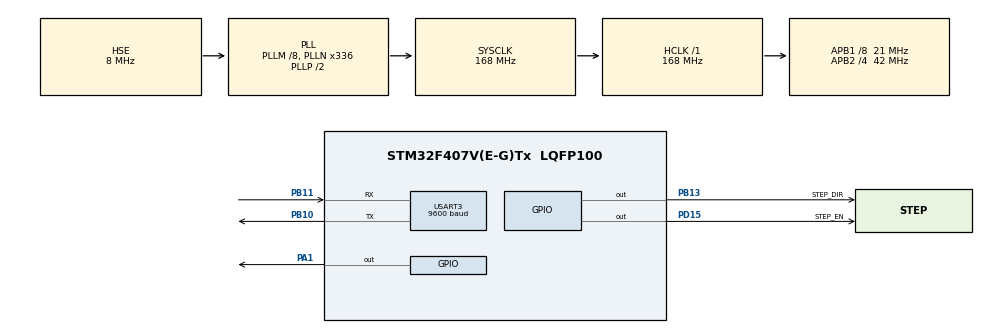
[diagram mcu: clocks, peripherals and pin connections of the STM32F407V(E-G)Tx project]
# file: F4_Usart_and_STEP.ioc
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Mcu.Family=STM32F4
Mcu.Name=STM32F407V(E-G)Tx
Mcu.Package=LQFP100
NVIC.PriorityGroup=NVIC_PRIORITYGROUP_0
NVIC.TIM2_IRQn=true\:0\:0\:false\:false\:true
NVIC.USART3_IRQn=true\:0\:0\:false\:false\:true
PA1.Signal=GPIO_Output
PA13.Mode=Serial_Wire
PA13.Signal=SYS_JTMS-SWDIO
PA14.Mode=Serial_Wire
PA14.Signal=SYS_JTCK-SWCLK
PB10.Mode=Asynchronous
PB10.Signal=USART3_TX
PB11.Mode=Asynchronous
PB11.Signal=USART3_RX
PB13.GPIO_Label=STEP_DIR
PB13.Signal=GPIO_Output
PD15.GPIO_Label=STEP_EN
PD15.Signal=GPIO_Output
PH0-OSC_IN.Mode=HSE-External-Oscillator
PH0-OSC_IN.Signal=RCC_OSC_IN
PH1-OSC_OUT.Mode=HSE-External-Oscillator
PH1-OSC_OUT.Signal=RCC_OSC_OUT
ProjectManager.HeapSize=0x200
ProjectManager.StackSize=0x400
ProjectManager.TargetToolchain=EWARM
RCC.48MHZClocksFreq_Value=48000000
RCC.AHBFreq_Value=168000000
RCC.APB1CLKDivider=RCC_HCLK_DIV8
RCC.APB1Freq_Value=21000000
RCC.APB1TimFreq_Value=42000000
RCC.APB2CLKDivider=RCC_HCLK_DIV4
RCC.APB2Freq_Value=42000000
RCC.APB2TimFreq_Value=84000000
RCC.CortexFreq_Value=168000000
RCC.HCLKFreq_Value=168000000
RCC.HSE_VALUE=8000000
RCC.HSI_VALUE=16000000
RCC.LSE_VALUE=32768
RCC.PLLM=8
RCC.PLLN=336
RCC.PLLQ=7
RCC.PLLSourceVirtual=RCC_PLLSOURCE_HSE
RCC.SYSCLKFreq_VALUE=168000000
RCC.SYSCLKSource=RCC_SYSCLKSOURCE_PLLCLK
RCC.VCOOutputFreq_Value=336000000
TIM2.Period=999
TIM2.Prescaler=41
USART3.BaudRate=9600
USART3.VirtualMode=VM_ASYNC
VP_TIM2_VS_ClockSourceINT.Mode=Internal
board=STM32F4DISCOVERY

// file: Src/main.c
/**
  ******************************************************************************
  * File Name          : main.c
  * Description        : Main program body
  ******************************************************************************
  ** This notice applies to any and all portions of this file
  * that are not between comment pairs USER CODE BEGIN and
  * USER CODE END. Other portions of this file, whether
  * inserted by the user or by software development tools
  * are owned by their respective copyright owners.
  *
  * COPYRIGHT(c) 2017 STMicroelectronics
  *
  * Redistribution and use in source and binary forms, with or without modification,
  * are permitted provided that the following conditions are met:
  *   1. Redistributions of source code must retain the above copyright notice,
  *      this list of conditions and the following disclaimer.
  *   2. Redistributions in binary form must reproduce the above copyright notice,
  *      this list of conditions and the following disclaimer in the documentation
  *      and/or other materials provided with the distribution.
  *   3. Neither the name of STMicroelectronics nor the names of its contributors
  *      may be used to endorse or promote products derived from this software
  *      without specific prior written permission.
  *
  * THIS SOFTWARE IS PROVIDED BY THE COPYRIGHT HOLDERS AND CONTRIBUTORS "AS IS"
  * AND ANY EXPRESS OR IMPLIED WARRANTIES, INCLUDING, BUT NOT LIMITED TO, THE
  * IMPLIED WARRANTIES OF MERCHANTABILITY AND FITNESS FOR A PARTICULAR PURPOSE ARE
  * DISCLAIMED. IN NO EVENT SHALL THE COPYRIGHT HOLDER OR CONTRIBUTORS BE LIABLE
  * FOR ANY DIRECT, INDIRECT, INCIDENTAL, SPECIAL, EXEMPLARY, OR CONSEQUENTIAL
  * DAMAGES (INCLUDING, BUT NOT LIMITED TO, PROCUREMENT OF SUBSTITUTE GOODS OR
  * SERVICES; LOSS OF USE, DATA, OR PROFITS; OR BUSINESS INTERRUPTION) HOWEVER
  * CAUSED AND ON ANY THEORY OF LIABILITY, WHETHER IN CONTRACT, STRICT LIABILITY,
  * OR TORT (INCLUDING NEGLIGENCE OR OTHERWISE) ARISING IN ANY WAY OUT OF THE USE
  * OF THIS SOFTWARE, EVEN IF ADVISED OF THE POSSIBILITY OF SUCH DAMAGE.
  *
  ******************************************************************************
  */
#include "main.h"
#include "stm32f4xx_hal.h"

TIM_HandleTypeDef htim2;

UART_HandleTypeDef huart3;

/* USER CODE BEGIN PV */
/* Private variables ---------------------------------------------------------*/
char Rx_indx, Rx_data[2], Rx_Buffer[100], Transfer_cplt;
uint32_t x = 0, y = 0;
int b = 0;

/* USER CODE END PV */

void SystemClock_Config(void);
static void MX_GPIO_Init(void);
static void MX_TIM2_Init(void);
static void MX_USART3_UART_Init(void);

/* USER CODE BEGIN PFP */
/* Private function prototypes -----------------------------------------------*/
void TX_Data(uint8_t message1[]) {

	//sprintf(buffer, "This is i:%i\r\n", 1);
	int len = strlen(message1);
	HAL_UART_Transmit(&huart3, message1, len, 1000);
}

void HAL_UART_RxCpltCallback(UART_HandleTypeDef *huart) {
	uint8_t i;
	//if (huart->Instance == USART3)	//current UART
	if (huart == &huart3)	//current UART
			{
		HAL_UART_Receive_IT(&huart3, Rx_data, 1);//activate UART receive interrupt every time
		switch (Rx_data[0]) {
		case '/':
			Rx_indx = 0;
			break;
		default:
			Rx_Buffer[Rx_indx++] = Rx_data[0];
			unsigned char *p = (void *) Rx_Buffer;
			x = atoi(p);
			break;
		}

	}

}

void HAL_TIM_PeriodElapsedCallback(TIM_HandleTypeDef *htim) {
	if (htim->Instance == TIM2) {
		//if (b % 2 == 0) {
			HAL_GPIO_TogglePin(GPIOA, GPIO_PIN_1);
		//	b=0;
		//}
	//	b++;
	}

}

/* USER CODE END PFP */

int main(void)
{

  /* MCU Configuration----------------------------------------------------------*/

  /* Reset of all peripherals, Initializes the Flash interface and the Systick. */
  HAL_Init();

  /* Configure the system clock */
  SystemClock_Config();

  /* Initialize all configured peripherals */
  MX_GPIO_Init();
  MX_TIM2_Init();
  MX_USART3_UART_Init();

  /* USER CODE BEGIN 2 */
	HAL_TIM_Base_Start_IT(&htim2);
	HAL_UART_Receive_IT(&huart3, Rx_data, 1);
	__HAL_UART_ENABLE_IT(&huart3, UART_IT_TC);
	__HAL_UART_ENABLE_IT(&huart3, UART_IT_RXNE);

	HAL_GPIO_WritePin(GPIOD, STEP_EN_Pin, GPIO_PIN_RESET);
	HAL_GPIO_WritePin(GPIOB, STEP_DIR_Pin, GPIO_PIN_RESET);
	// printf("aasd");
  /* USER CODE END 2 */

  /* Infinite loop */
	while (1) {

  /* USER CODE BEGIN 3 */

		//HAL_UART_Transmit_IT(&huart3,)

		HAL_GPIO_WritePin(GPIOB, STEP_DIR_Pin, x);

	}
  /* USER CODE END 3 */

}

/** System Clock Configuration
*/
void SystemClock_Config(void)
{

  RCC_OscInitTypeDef RCC_OscInitStruct;
  RCC_ClkInitTypeDef RCC_ClkInitStruct;

    /**Configure the main internal regulator output voltage
    */
  __HAL_RCC_PWR_CLK_ENABLE();

  __HAL_PWR_VOLTAGESCALING_CONFIG(PWR_REGULATOR_VOLTAGE_SCALE1);

    /**Initializes the CPU, AHB and APB busses clocks
    */
  RCC_OscInitStruct.OscillatorType = RCC_OSCILLATORTYPE_HSE;
  RCC_OscInitStruct.HSEState = RCC_HSE_ON;
  RCC_OscInitStruct.PLL.PLLState = RCC_PLL_ON;
  RCC_OscInitStruct.PLL.PLLSource = RCC_PLLSOURCE_HSE;
  RCC_OscInitStruct.PLL.PLLM = 8;
  RCC_OscInitStruct.PLL.PLLN = 336;
  RCC_OscInitStruct.PLL.PLLP = RCC_PLLP_DIV2;
  RCC_OscInitStruct.PLL.PLLQ = 7;
  if (HAL_RCC_OscConfig(&RCC_OscInitStruct) != HAL_OK)
  {
    _Error_Handler(__FILE__, __LINE__);
  }

    /**Initializes the CPU, AHB and APB busses clocks
    */
  RCC_ClkInitStruct.ClockType = RCC_CLOCKTYPE_HCLK|RCC_CLOCKTYPE_SYSCLK
                              |RCC_CLOCKTYPE_PCLK1|RCC_CLOCKTYPE_PCLK2;
  RCC_ClkInitStruct.SYSCLKSource = RCC_SYSCLKSOURCE_PLLCLK;
  RCC_ClkInitStruct.AHBCLKDivider = RCC_SYSCLK_DIV1;
  RCC_ClkInitStruct.APB1CLKDivider = RCC_HCLK_DIV8;
  RCC_ClkInitStruct.APB2CLKDivider = RCC_HCLK_DIV4;

  if (HAL_RCC_ClockConfig(&RCC_ClkInitStruct, FLASH_LATENCY_5) != HAL_OK)
  {
    _Error_Handler(__FILE__, __LINE__);
  }

    /**Configure the Systick interrupt time
    */
  HAL_SYSTICK_Config(HAL_RCC_GetHCLKFreq()/1000);

    /**Configure the Systick
    */
  HAL_SYSTICK_CLKSourceConfig(SYSTICK_CLKSOURCE_HCLK);

  /* SysTick_IRQn interrupt configuration */
  HAL_NVIC_SetPriority(SysTick_IRQn, 0, 0);
}

/* TIM2 init function */
static void MX_TIM2_Init(void)
{

  TIM_ClockConfigTypeDef sClockSourceConfig;
  TIM_MasterConfigTypeDef sMasterConfig;

  htim2.Instance = TIM2;
  htim2.Init.Prescaler = 41;
  htim2.Init.CounterMode = TIM_COUNTERMODE_UP;
  htim2.Init.Period = 999;
  htim2.Init.ClockDivision = TIM_CLOCKDIVISION_DIV1;
  if (HAL_TIM_Base_Init(&htim2) != HAL_OK)
  {
    _Error_Handler(__FILE__, __LINE__);
  }

  sClockSourceConfig.ClockSource = TIM_CLOCKSOURCE_INTERNAL;
  if (HAL_TIM_ConfigClockSource(&htim2, &sClockSourceConfig) != HAL_OK)
  {
    _Error_Handler(__FILE__, __LINE__);
  }

  sMasterConfig.MasterOutputTrigger = TIM_TRGO_RESET;
  sMasterConfig.MasterSlaveMode = TIM_MASTERSLAVEMODE_DISABLE;
  if (HAL_TIMEx_MasterConfigSynchronization(&htim2, &sMasterConfig) != HAL_OK)
  {
    _Error_Handler(__FILE__, __LINE__);
  }

}

/* USART3 init function */
static void MX_USART3_UART_Init(void)
{

  huart3.Instance = USART3;
  huart3.Init.BaudRate = 9600;
  huart3.Init.WordLength = UART_WORDLENGTH_8B;
  huart3.Init.StopBits = UART_STOPBITS_1;
  huart3.Init.Parity = UART_PARITY_NONE;
  huart3.Init.Mode = UART_MODE_TX_RX;
  huart3.Init.HwFlowCtl = UART_HWCONTROL_NONE;
  huart3.Init.OverSampling = UART_OVERSAMPLING_16;
  if (HAL_UART_Init(&huart3) != HAL_OK)
  {
    _Error_Handler(__FILE__, __LINE__);
  }

}

/** Configure pins as
        * Analog
        * Input
        * Output
        * EVENT_OUT
        * EXTI
*/
static void MX_GPIO_Init(void)
{

  GPIO_InitTypeDef GPIO_InitStruct;

  /* GPIO Ports Clock Enable */
  __HAL_RCC_GPIOH_CLK_ENABLE();
  __HAL_RCC_GPIOA_CLK_ENABLE();
  __HAL_RCC_GPIOB_CLK_ENABLE();
  __HAL_RCC_GPIOD_CLK_ENABLE();

  /*Configure GPIO pin Output Level */
  HAL_GPIO_WritePin(GPIOA, GPIO_PIN_1, GPIO_PIN_RESET);

  /*Configure GPIO pin Output Level */
  HAL_GPIO_WritePin(STEP_DIR_GPIO_Port, STEP_DIR_Pin, GPIO_PIN_RESET);

  /*Configure GPIO pin Output Level */
  HAL_GPIO_WritePin(STEP_EN_GPIO_Port, STEP_EN_Pin, GPIO_PIN_RESET);

  /*Configure GPIO pin : PA1 */
  GPIO_InitStruct.Pin = GPIO_PIN_1;
  GPIO_InitStruct.Mode = GPIO_MODE_OUTPUT_PP;
  GPIO_InitStruct.Pull = GPIO_NOPULL;
  GPIO_InitStruct.Speed = GPIO_SPEED_FREQ_LOW;
  HAL_GPIO_Init(GPIOA, &GPIO_InitStruct);

  /*Configure GPIO pin : STEP_DIR_Pin */
  GPIO_InitStruct.Pin = STEP_DIR_Pin;
  GPIO_InitStruct.Mode = GPIO_MODE_OUTPUT_PP;
  GPIO_InitStruct.Pull = GPIO_NOPULL;
  GPIO_InitStruct.Speed = GPIO_SPEED_FREQ_LOW;
  HAL_GPIO_Init(STEP_DIR_GPIO_Port, &GPIO_InitStruct);

  /*Configure GPIO pin : STEP_EN_Pin */
  GPIO_InitStruct.Pin = STEP_EN_Pin;
  GPIO_InitStruct.Mode = GPIO_MODE_OUTPUT_PP;
  GPIO_InitStruct.Pull = GPIO_NOPULL;
  GPIO_InitStruct.Speed = GPIO_SPEED_FREQ_LOW;
  HAL_GPIO_Init(STEP_EN_GPIO_Port, &GPIO_InitStruct);

}

void _Error_Handler(char * file, int line)
{
	while (1) {
	}
}

/************************ (C) COPYRIGHT STMicroelectronics *****END OF FILE****/
